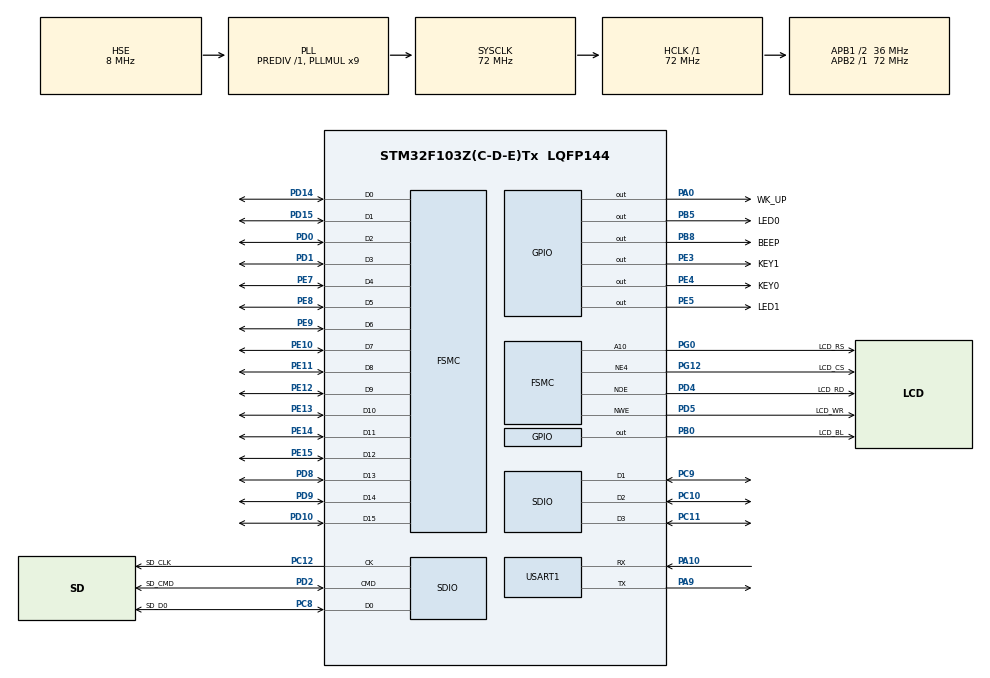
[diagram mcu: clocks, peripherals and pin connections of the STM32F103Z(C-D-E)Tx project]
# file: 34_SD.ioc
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FSMC.AddressSetupTime1=0
FSMC.BusTurnAroundDuration1=15
FSMC.DataSetupTime1=15
FSMC.ExtendedAddressSetupTime1=0
FSMC.ExtendedDataSetupTime1=1
FSMC.ExtendedMode1=FSMC_EXTENDED_MODE_ENABLE
Mcu.Family=STM32F1
Mcu.Name=STM32F103Z(C-D-E)Tx
Mcu.Package=LQFP144
NVIC.PriorityGroup=NVIC_PRIORITYGROUP_2
NVIC.TIM4_IRQn=true\:2\:2\:true\:false\:true\:true\:true\:true
NVIC.USART1_IRQn=true\:2\:2\:true\:false\:true\:true\:true\:true
OSC_IN.Mode=HSE-External-Oscillator
OSC_IN.Signal=RCC_OSC_IN
OSC_OUT.Mode=HSE-External-Oscillator
OSC_OUT.Signal=RCC_OSC_OUT
PA0-WKUP.GPIO_Label=WK_UP
PA0-WKUP.GPIO_PuPd=GPIO_PULLDOWN
PA0-WKUP.GPIO_Speed=GPIO_SPEED_FREQ_HIGH
PA0-WKUP.PinState=GPIO_PIN_RESET
PA0-WKUP.Signal=GPIO_Output
PA10.Mode=Asynchronous
PA10.Signal=USART1_RX
PA13.Mode=Serial_Wire
PA13.Signal=SYS_JTMS-SWDIO
PA14.Mode=Serial_Wire
PA14.Signal=SYS_JTCK-SWCLK
PA9.Mode=Asynchronous
PA9.Signal=USART1_TX
PB0.GPIO_Label=LCD_BL
PB0.GPIO_PuPd=GPIO_PULLUP
PB0.GPIO_Speed=GPIO_SPEED_FREQ_HIGH
PB0.PinState=GPIO_PIN_SET
PB0.Signal=GPIO_Output
PB5.GPIO_Label=LED0
PB5.GPIO_PuPd=GPIO_PULLUP
PB5.GPIO_Speed=GPIO_SPEED_FREQ_HIGH
PB5.PinState=GPIO_PIN_SET
PB5.Signal=GPIO_Output
PB8.GPIO_Label=BEEP
PB8.GPIO_ModeDefaultOutputPP=GPIO_MODE_OUTPUT_PP
PB8.GPIO_PuPd=GPIO_PULLDOWN
PB8.GPIO_Speed=GPIO_SPEED_FREQ_HIGH
PB8.PinState=GPIO_PIN_RESET
PB8.Signal=GPIO_Output
PC10.Mode=SD_4_bits_Wide_bus
PC10.Signal=SDIO_D2
PC11.Mode=SD_4_bits_Wide_bus
PC11.Signal=SDIO_D3
PC12.GPIO_Label=SD_CLK
PC12.Mode=SD_4_bits_Wide_bus
PC12.Signal=SDIO_CK
PC14-OSC32_IN.Mode=LSE-External-Oscillator
PC14-OSC32_IN.Signal=RCC_OSC32_IN
PC15-OSC32_OUT.Mode=LSE-External-Oscillator
PC15-OSC32_OUT.Signal=RCC_OSC32_OUT
PC8.GPIO_Label=SD_D0
PC8.Mode=SD_4_bits_Wide_bus
PC8.Signal=SDIO_D0
PC9.Mode=SD_4_bits_Wide_bus
PC9.Signal=SDIO_D1
PD0.Signal=FSMC_D2_DA2
PD1.Signal=FSMC_D3_DA3
PD10.Signal=FSMC_D15_DA15
PD14.Signal=FSMC_D0_DA0
PD15.Signal=FSMC_D1_DA1
PD2.GPIO_Label=SD_CMD
PD2.Mode=SD_4_bits_Wide_bus
PD2.Signal=SDIO_CMD
PD4.GPIO_Label=LCD_RD
PD4.Signal=FSMC_NOE
PD5.GPIO_Label=LCD_WR
PD5.Signal=FSMC_NWE
PD8.Signal=FSMC_D13_DA13
PD9.Signal=FSMC_D14_DA14
PE10.Signal=FSMC_D7_DA7
PE11.Signal=FSMC_D8_DA8
PE12.Signal=FSMC_D9_DA9
PE13.Signal=FSMC_D10_DA10
PE14.Signal=FSMC_D11_DA11
PE15.Signal=FSMC_D12_DA12
PE3.GPIO_Label=KEY1
PE3.GPIO_PuPd=GPIO_PULLUP
PE3.GPIO_Speed=GPIO_SPEED_FREQ_HIGH
PE3.PinState=GPIO_PIN_SET
PE3.Signal=GPIO_Output
PE4.GPIO_Label=KEY0
PE4.GPIO_PuPd=GPIO_PULLUP
PE4.GPIO_Speed=GPIO_SPEED_FREQ_HIGH
PE4.PinState=GPIO_PIN_SET
PE4.Signal=GPIO_Output
PE5.GPIO_Label=LED1
PE5.GPIO_PuPd=GPIO_PULLUP
PE5.GPIO_Speed=GPIO_SPEED_FREQ_HIGH
PE5.PinState=GPIO_PIN_SET
PE5.Signal=GPIO_Output
PE7.Signal=FSMC_D4_DA4
PE8.Signal=FSMC_D5_DA5
PE9.Signal=FSMC_D6_DA6
PG0.GPIO_Label=LCD_RS
PG0.Signal=FSMC_A10
PG12.GPIO_Label=LCD_CS
PG12.Mode=NorPsramChipSelect4_1
PG12.Signal=FSMC_NE4
ProjectManager.HeapSize=0x200
ProjectManager.StackSize=0x400
ProjectManager.TargetToolchain=STM32CubeIDE
RCC.AHBFreq_Value=72000000
RCC.APB1CLKDivider=RCC_HCLK_DIV2
RCC.APB1Freq_Value=36000000
RCC.APB1TimFreq_Value=72000000
RCC.APB2Freq_Value=72000000
RCC.APB2TimFreq_Value=72000000
RCC.HCLKFreq_Value=72000000
RCC.PLLMUL=RCC_PLL_MUL9
RCC.PLLSourceVirtual=RCC_PLLSOURCE_HSE
RCC.SYSCLKFreq_VALUE=72000000
RCC.SYSCLKSource=RCC_SYSCLKSOURCE_PLLCLK
RCC.USBFreq_Value=72000000
SDIO.ClockDiv=0x06
SDIO.HardwareFlowControl=SDIO_HARDWARE_FLOW_CONTROL_ENABLE
SH.FSMC_A10.0=FSMC_A10,A10_1
SH.FSMC_D0_DA0.0=FSMC_D0,16b-d1
SH.FSMC_D10_DA10.0=FSMC_D10,16b-d1
SH.FSMC_D11_DA11.0=FSMC_D11,16b-d1
SH.FSMC_D12_DA12.0=FSMC_D12,16b-d1
SH.FSMC_D13_DA13.0=FSMC_D13,16b-d1
SH.FSMC_D14_DA14.0=FSMC_D14,16b-d1
SH.FSMC_D15_DA15.0=FSMC_D15,16b-d1
SH.FSMC_D1_DA1.0=FSMC_D1,16b-d1
SH.FSMC_D2_DA2.0=FSMC_D2,16b-d1
SH.FSMC_D3_DA3.0=FSMC_D3,16b-d1
SH.FSMC_D4_DA4.0=FSMC_D4,16b-d1
SH.FSMC_D5_DA5.0=FSMC_D5,16b-d1
SH.FSMC_D6_DA6.0=FSMC_D6,16b-d1
SH.FSMC_D7_DA7.0=FSMC_D7,16b-d1
SH.FSMC_D8_DA8.0=FSMC_D8,16b-d1
SH.FSMC_D9_DA9.0=FSMC_D9,16b-d1
SH.FSMC_NOE.0=FSMC_NOE,Lcd1
SH.FSMC_NWE.0=FSMC_NWE,Lcd1
TIM4.AutoReloadPreload=TIM_AUTORELOAD_PRELOAD_ENABLE
TIM4.Period=1000 - 1
TIM4.Prescaler=720 - 1
USART1.VirtualMode=VM_ASYNC
VP_TIM4_VS_ClockSourceINT.Mode=Internal
board=custom

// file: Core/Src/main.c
/* USER CODE BEGIN Header */

/* USER CODE END Header */
#include "main.h"
#include "sdio.h"
#include "tim.h"
#include "usart.h"
#include "gpio.h"
#include "fsmc.h"

/* USER CODE BEGIN Includes */
#include "../../BSP/LED/led.h"
#include "../../BSP/KEY/key.h"
#include "../../BSP/LCD/lcd.h"
#include "../../SYSTEM/delay/delay.h"
#include "../../Middlewares/MALLOC/malloc.h"
/* USER CODE END Includes */

/* USER CODE BEGIN PTD */
HAL_SD_CardInfoTypeDef g_sd_card_info_handle; /* SD卡信息结构体 */
extern uint8_t g_sd_error;
/* USER CODE END PTD */

/* USER CODE BEGIN PM */

/**
 * @brief       通过串口打印SD卡相关信息
 * @param       无
 * @retval      无
 */
void show_sdcard_info(void)
{
    HAL_SD_CardCIDTypeDef sd_card_cid;

    HAL_SD_GetCardCID(&hsd, &sd_card_cid); 			/* 获取CID */
    get_sd_card_info(&g_sd_card_info_handle);   	/* 获取SD卡信息 */

    switch (g_sd_card_info_handle.CardType)
    {
        case CARD_SDSC:
        {
            if (g_sd_card_info_handle.CardVersion == CARD_V1_X)
            {
                printf("Card Type:SDSC V1\r\n");
            }
            else if (g_sd_card_info_handle.CardVersion == CARD_V2_X)
            {
                printf("Card Type:SDSC V2\r\n");
            }
        }
        break;

        case CARD_SDHC_SDXC:
            printf("Card Type:SDHC\r\n");
            break;

        default: break;
    }

    printf("Card ManufacturerID:%d\r\n", sd_card_cid.ManufacturerID);                                               /* 制造商ID */
    printf("Card RCA:%lu\r\n", g_sd_card_info_handle.RelCardAdd);                                                  	/* 卡相对地址 */
    printf("Card Capacity:%lu MB\r\n", (uint32_t)SD_TOTAL_SIZE_MB(&hsd));                               			/* 显示容量 */
    printf("Card BlockSize:%lu\r\n\r\n", g_sd_card_info_handle.BlockSize);                                      	/* 显示块大小 */
}

/**
 * @brief       测试SD卡的读取
 *   @note      从secaddr地址开始,读取seccnt个扇区的数据
 * @param       secaddr : 扇区地址
 * @param       seccnt  : 扇区数
 * @retval      无
 */
void sd_test_read(uint32_t secaddr, uint32_t seccnt)
{
    uint32_t i;
    uint8_t *buf;
    uint8_t sta = 0;

    buf = mymalloc(SRAMIN, seccnt * 512);     /* 申请内存,从SRAM申请内存 */
    sta = sd_read_disk(buf, secaddr, seccnt); /* 读取secaddr扇区开始的内容 */

    if (sta == 0)
    {
        lcd_show_string(30, 170, 200, 16, 16, "USART1 Sending Data...", BLUE);
        printf("SECTOR %lu DATA:\r\n", secaddr);

        for (i = 0; i < seccnt * 512; i++)
        {
            printf("%x ", buf[i]); /* 打印secaddr开始的扇区数据 */
        }

        printf("\r\nDATA ENDED\r\n");
        lcd_show_string(30, 170, 200, 16, 16, "USART1 Send Data Over!", BLUE);
    }
    else
    {
        printf("err:%d\r\n", sta);
        lcd_show_string(30, 170, 200, 16, 16, "SD read Failure!      ", BLUE);
    }

    myfree(SRAMIN, buf); /* 释放内存 */
}

/**
 * @brief       测试SD卡的写入
 *   @note      从secaddr地址开始,写入seccnt个扇区的数据
 *              慎用!! 最好写全是0XFF的扇区,否则可能损坏SD卡.
 *
 * @param       secaddr : 扇区地址
 * @param       seccnt  : 扇区数
 * @retval      无
 */
void sd_test_write(uint32_t secaddr, uint32_t seccnt)
{
    uint32_t i;
    uint8_t *buf;
    uint8_t sta = 0;
    buf = mymalloc(SRAMIN, seccnt * 512);   /* 从SRAM申请内存 */

    for (i = 0; i < seccnt * 512; i++)      /* 初始化写入的数据,是3的倍数. */
    {
        buf[i] = i * 3;
    }

    sta = sd_write_disk(buf, secaddr, seccnt); /* 从secaddr扇区开始写入seccnt个扇区内容 */

    if (sta == 0)
    {
        printf("Write over!\r\n");
    }
    else
    {
        printf("err:%d\r\n", sta);
    }

    myfree(SRAMIN, buf); /* 释放内存 */
}
/* USER CODE END PM */

void SystemClock_Config(void);

int main(void)
{
  /* USER CODE BEGIN 1 */
    uint8_t key;
    uint8_t t = 0;
  /* USER CODE END 1 */

  /* MCU Configuration--------------------------------------------------------*/

  /* Reset of all peripherals, Initializes the Flash interface and the Systick. */
  HAL_Init();

  /* Configure the system clock */
  SystemClock_Config();

  /* USER CODE BEGIN SysInit */
  delay_init(72);						   	/* 初始化延时函数 */
  /* USER CODE END SysInit */

  /* Initialize all configured peripherals */
  MX_GPIO_Init();
  MX_FSMC_Init();
  MX_USART1_UART_Init();
  MX_SDIO_SD_Init();
  MX_TIM4_Init();
  /* USER CODE BEGIN 2 */
  lcd_init();                         		/* 初始化LCD */
  my_mem_init(SRAMIN);               		/* 初始化内部SRAM内存池 */

  lcd_show_string(30,  50, 200, 16, 16, "STM32", RED);
  lcd_show_string(30,  70, 200, 16, 16, "SD TEST", RED);
  lcd_show_string(30,  90, 200, 16, 16, "ATOM@ALIENTEK", RED);
  lcd_show_string(30, 110, 200, 16, 16, "KEY0:Read Sector 0", RED);
  while (g_sd_error == 1) /* 检测不到SD卡 */
  {
	  g_sd_error = 0;
	  MX_SDIO_SD_Init();
      lcd_show_string(30, 130, 200, 16, 16, "SD Card Error!", RED);
      delay_ms(500);
      lcd_show_string(30, 130, 200, 16, 16, "Please Check! ", RED);
      delay_ms(500);
      LED0_TOGGLE(); /* 红灯闪烁 */
  }
  /* 打印SD卡相关信息 */
  show_sdcard_info();

  /* 检测SD卡成功 */
  lcd_show_string(30, 130, 200, 16, 16, "SD Card OK    ", BLUE);
  lcd_show_string(30, 150, 200, 16, 16, "SD Card Size:     MB", BLUE);
  lcd_show_num(30 + 13 * 8, 150, SD_TOTAL_SIZE_MB(&hsd), 5, 16, BLUE); /* 显示SD卡容量 */
  /* USER CODE END 2 */

  /* Infinite loop */
  /* USER CODE BEGIN WHILE */
  while (1)
  {
      key = key_scan(0);

      if (key == KEY0_PRES)   	/* KEY0按下了 */
      {
          sd_test_read(0, 1);  	/* 从扇区0读取1*512字节的内容 */
      }else if(key == KEY1_PRES)
      {
    	  sd_test_write(0, 1);	/* 写数据到扇区0 */
      }

      t++;
      delay_ms(10);

      if (t == 20)
      {
          LED0_TOGGLE(); 	 	/* 红灯闪烁 */
          t = 0;
      }

    /* USER CODE END WHILE */

  }
}

void SystemClock_Config(void)
{
  RCC_OscInitTypeDef RCC_OscInitStruct = {0};
  RCC_ClkInitTypeDef RCC_ClkInitStruct = {0};

  /** Initializes the RCC Oscillators according to the specified parameters
  * in the RCC_OscInitTypeDef structure.
  */
  RCC_OscInitStruct.OscillatorType = RCC_OSCILLATORTYPE_HSE;
  RCC_OscInitStruct.HSEState = RCC_HSE_ON;
  RCC_OscInitStruct.HSEPredivValue = RCC_HSE_PREDIV_DIV1;
  RCC_OscInitStruct.HSIState = RCC_HSI_ON;
  RCC_OscInitStruct.PLL.PLLState = RCC_PLL_ON;
  RCC_OscInitStruct.PLL.PLLSource = RCC_PLLSOURCE_HSE;
  RCC_OscInitStruct.PLL.PLLMUL = RCC_PLL_MUL9;
  if (HAL_RCC_OscConfig(&RCC_OscInitStruct) != HAL_OK)
  {
    Error_Handler();
  }

  /** Initializes the CPU, AHB and APB buses clocks
  */
  RCC_ClkInitStruct.ClockType = RCC_CLOCKTYPE_HCLK|RCC_CLOCKTYPE_SYSCLK
                              |RCC_CLOCKTYPE_PCLK1|RCC_CLOCKTYPE_PCLK2;
  RCC_ClkInitStruct.SYSCLKSource = RCC_SYSCLKSOURCE_PLLCLK;
  RCC_ClkInitStruct.AHBCLKDivider = RCC_SYSCLK_DIV1;
  RCC_ClkInitStruct.APB1CLKDivider = RCC_HCLK_DIV2;
  RCC_ClkInitStruct.APB2CLKDivider = RCC_HCLK_DIV1;

  if (HAL_RCC_ClockConfig(&RCC_ClkInitStruct, FLASH_LATENCY_2) != HAL_OK)
  {
    Error_Handler();
  }
}

void Error_Handler(void)
{
  __disable_irq();
  while (1)
  {
  }
}
